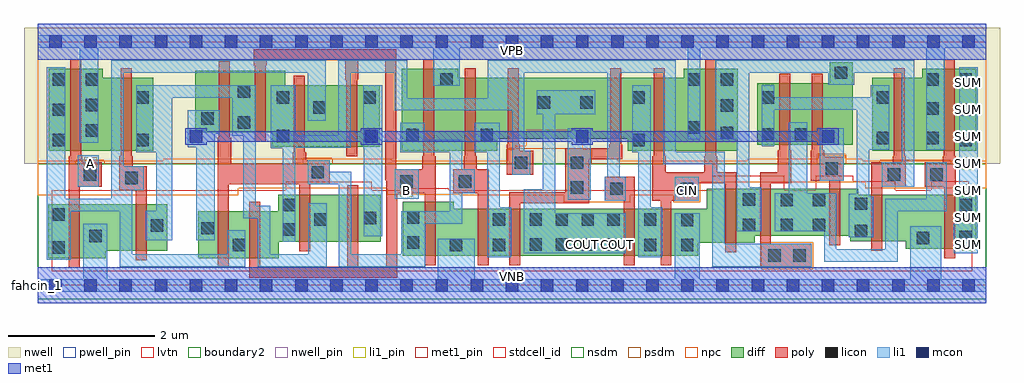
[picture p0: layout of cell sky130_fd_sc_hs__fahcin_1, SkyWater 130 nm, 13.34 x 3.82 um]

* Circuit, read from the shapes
.subckt sky130_fd_sc_hs__fahcin_1 A B CIN COUT SUM VGND VNB VPB VPWR
XM1 VGND A n1 VNB sky130_fd_pr__nfet_01v8_lvt w=0.74 l=0.15
XM2 n2 n1 VGND VNB sky130_fd_pr__nfet_01v8_lvt w=0.64 l=0.15
XM3 n1 n3 n4 VNB sky130_fd_pr__nfet_01v8_lvt w=0.64 l=0.15
XM4 n5 B n1 VNB sky130_fd_pr__nfet_01v8_lvt w=0.64 l=0.15
XM5 n2 n3 n5 VNB sky130_fd_pr__nfet_01v8_lvt w=0.64 l=0.15
XM6 n4 B n2 VNB sky130_fd_pr__nfet_01v8_lvt w=0.64 l=0.15
XM7 VGND B n3 VNB sky130_fd_pr__nfet_01v8_lvt w=0.74 l=0.15
XM8 n6 n3 VGND VNB sky130_fd_pr__nfet_01v8_lvt w=0.64 l=0.15
XM9 COUT n4 n6 VNB sky130_fd_pr__nfet_01v8_lvt w=0.64 l=0.15
XM10 n7 n5 COUT VNB sky130_fd_pr__nfet_01v8_lvt w=0.64 l=0.15
XM11 VGND CIN n7 VNB sky130_fd_pr__nfet_01v8_lvt w=0.64 l=0.15
XM12 n8 CIN VGND VNB sky130_fd_pr__nfet_01v8_lvt w=0.74 l=0.15
XM13 n9 n5 n8 VNB sky130_fd_pr__nfet_01v8_lvt w=0.64 l=0.15
XM14 n10 n4 n9 VNB sky130_fd_pr__nfet_01v8_lvt w=0.64 l=0.15
XM15 VGND n8 n10 VNB sky130_fd_pr__nfet_01v8_lvt w=0.64 l=0.15
XM16 SUM n9 VGND VNB sky130_fd_pr__nfet_01v8_lvt w=0.74 l=0.15
XM17 VPWR A n1 VPB sky130_fd_pr__pfet_01v8 w=1.12 l=0.15
XM18 n2 n1 VPWR VPB sky130_fd_pr__pfet_01v8 w=1 l=0.15
XM19 n2 n3 n4 VPB sky130_fd_pr__pfet_01v8 w=0.84 l=0.15
XM20 n5 B n2 VPB sky130_fd_pr__pfet_01v8 w=0.84 l=0.15
XM21 n1 n3 n5 VPB sky130_fd_pr__pfet_01v8 w=0.84 l=0.15
XM22 n4 B n1 VPB sky130_fd_pr__pfet_01v8 w=0.84 l=0.15
XM23 VPWR B n3 VPB sky130_fd_pr__pfet_01v8 w=1.12 l=0.15
XM24 n6 n3 VPWR VPB sky130_fd_pr__pfet_01v8 w=1 l=0.15
XM25 COUT n5 n6 VPB sky130_fd_pr__pfet_01v8 w=0.84 l=0.15
XM26 n7 n4 COUT VPB sky130_fd_pr__pfet_01v8 w=0.84 l=0.15
XM27 VPWR CIN n7 VPB sky130_fd_pr__pfet_01v8 w=1 l=0.15
XM28 n8 CIN VPWR VPB sky130_fd_pr__pfet_01v8 w=1.12 l=0.15
XM29 n9 n5 n10 VPB sky130_fd_pr__pfet_01v8 w=0.84 l=0.15
XM30 n8 n4 n9 VPB sky130_fd_pr__pfet_01v8 w=0.84 l=0.15
XM31 VPWR n8 n10 VPB sky130_fd_pr__pfet_01v8 w=1 l=0.15
XM32 SUM n9 VPWR VPB sky130_fd_pr__pfet_01v8 w=1.12 l=0.15
.ends

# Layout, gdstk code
import gdstk
lib = gdstk.Library(unit=1e-6, precision=1e-09)
def R(c, l, rs):  # rectangles x0, y0, x1, y1
    for r in rs: c.add(gdstk.rectangle(r[:2], r[2:], *l))
def A(c, l, x, y, w, h, nx, ny, dx, dy):  # array of equal rectangles
    R(c, l, [(x+i*dx, y+j*dy, x+i*dx+w, y+j*dy+h) for i in range(nx) for j in range(ny)])
def P(c, l, *ps):  # polygons
    for p in ps: c.add(gdstk.Polygon(p, *l))
nwell_pin = (64, 16)
nwell = (64, 20)
diff = (65, 20)
poly = (66, 20)
licon = (66, 44)
li1_pin = (67, 16)
li1 = (67, 20)
mcon = (67, 44)
met1_pin = (68, 16)
met1 = (68, 20)
stdcell_id = (81, 4)
nsdm = (93, 44)
psdm = (94, 20)
npc = (95, 20)
pwell_pin = (122, 16)
lvtn = (125, 44)
boundary2 = (236, 0)

sky130_fd_sc_hs__fahcin_ = lib.new_cell('sky130_fd_sc_hs__fahcin_1')
R(sky130_fd_sc_hs__fahcin_, nwell_pin, [(0,3.085,12.96,3.33)])
R(sky130_fd_sc_hs__fahcin_, nwell, [(-0.19,1.66,13.15,3.52)])
P(sky130_fd_sc_hs__fahcin_, diff, [(1.575,2.84),(0.885,2.84),(0.885,2.96),(0.145,2.96),(0.145,1.84),(1.575,1.84)],
  [(1.77,1.11),(0.14,1.11),(0.14,0.37),(0.93,0.37),(0.93,0.47),(1.77,0.47)],
  [(4.675,2.735),(3.38,2.735),(3.38,2.93),(2.15,2.93),(2.15,2.09),(3.205,2.09),(3.205,1.895),(4.675,1.895)],
  [(4.685,1.235),(3.285,1.235),(3.285,1.01),(2.195,1.01),(2.195,0.37),(3.29,0.37),(3.29,0.595),(4.685,0.595)],
  [(9.565,2.96),(8.825,2.96),(8.825,2.84),(5.745,2.84),(5.745,2.96),(4.975,2.96),(4.975,1.84),(6.28,1.84),(6.28,2),(8.065,2),(8.065,1.84),(9.565,1.84)],
  [(11.135,3.05),(10.82,3.05),(10.82,2.76),(9.835,2.76),(9.835,1.92),(11.135,1.92)],
  [(12.825,2.96),(12.085,2.96),(12.085,2.84),(11.405,2.84),(11.405,1.84),(12.825,1.84)],
  [(12.825,1.24),(11.215,1.24),(11.215,1.32),(9.145,1.32),(9.145,1.045),(5.685,1.045),(5.685,1.145),(4.985,1.145),(4.985,0.405),(9.025,0.405),(9.025,0.58),(9.795,0.58),(9.795,0.68),(11.105,0.68),(11.105,0.6),(11.865,0.6),(11.865,0.5),(12.825,0.5)])
P(sky130_fd_sc_hs__fahcin_, poly, [(0.875,1.68),(0.605,1.68),(0.605,1.765),(0.59,1.765),(0.59,3.09),(0.44,3.09),(0.44,1.765),(0.425,1.765),(0.425,0.24),(0.575,0.24),(0.575,1.35),(0.875,1.35)],
  [(1.485,1.63),(1.295,1.63),(1.295,1.765),(1.28,1.765),(1.28,2.97),(1.13,2.97),(1.13,1.765),(1.115,1.765),(1.115,1.3),(1.335,1.3),(1.335,0.34),(1.485,0.34)],
  [(3.99,1.71),(3.665,1.71),(3.665,1.82),(3.65,1.82),(3.65,2.865),(3.5,2.865),(3.5,1.82),(3.485,1.82),(3.485,1.665),(2.64,1.665),(2.64,2.015),(2.625,2.015),(2.625,3.06),(2.475,3.06),(2.475,2.015),(2.46,2.015),(2.46,0.24),(2.61,0.24),(2.61,1.38),(3.57,1.38),(3.57,0.465),(3.72,0.465),(3.72,1.38),(3.99,1.38)],
  [(5.435,1.765),(5.42,1.765),(5.42,3.09),(5.27,3.09),(5.27,1.765),(5.255,1.765),(5.255,1.585),(4.9,1.585),(4.9,3.225),(2.95,3.225),(2.95,3.005),(2.965,3.005),(2.965,1.96),(3.115,1.96),(3.115,3.005),(3.13,3.005),(3.13,3.075),(4.2,3.075),(4.2,2.81),(4.215,2.81),(4.215,1.765),(4.365,1.765),(4.365,2.81),(4.38,2.81),(4.38,3.075),(4.75,3.075),(4.75,1.435),(4.76,1.435),(4.76,0.255),(4.38,0.255),(4.38,1.365),(4.23,1.365),(4.23,0.255),(3.04,0.255),(3.04,1.14),(2.89,1.14),(2.89,0.105),(4.91,0.105),(4.91,1.255),(5.285,1.255),(5.285,0.275),(5.435,0.275)],
  [(6.165,1.585),(6,1.585),(6,1.765),(5.985,1.765),(5.985,2.97),(5.835,2.97),(5.835,1.765),(5.82,1.765),(5.82,1.585),(5.675,1.585),(5.675,1.255),(6.015,1.255),(6.015,0.275),(6.165,0.275)],
  [(6.77,1.84),(6.585,1.84),(6.585,1.925),(6.57,1.925),(6.57,2.97),(6.42,2.97),(6.42,1.925),(6.405,1.925),(6.405,1.51),(6.77,1.51)],
  [(7.99,1.925),(7.975,1.925),(7.975,2.97),(7.825,2.97),(7.825,1.925),(7.81,1.925),(7.81,1.875),(7.205,1.875),(7.205,1.27),(6.445,1.27),(6.445,0.275),(6.595,0.275),(6.595,1.12),(7.535,1.12),(7.535,1.725),(7.99,1.725)],
  [(8.16,1.485),(7.745,1.485),(7.745,1.155),(8.01,1.155),(8.01,0.275),(8.16,0.275)],
  [(9.545,1.545),(9.285,1.545),(9.285,1.765),(9.27,1.765),(9.27,3.09),(9.12,3.09),(9.12,1.765),(9.105,1.765),(9.105,1.545),(8.58,1.545),(8.58,1.765),(8.565,1.765),(8.565,2.97),(8.415,2.97),(8.415,1.765),(8.4,1.765),(8.4,1.155),(8.51,1.155),(8.51,0.275),(8.66,0.275),(8.66,1.155),(9.035,1.155),(9.035,1.395),(9.395,1.395),(9.395,0.45),(9.545,0.45)],
  [(10.575,0.57),(10.02,0.57),(10.02,1.395),(10.295,1.395),(10.295,1.845),(10.28,1.845),(10.28,2.89),(10.13,2.89),(10.13,1.845),(10.115,1.845),(10.115,1.545),(9.87,1.545),(9.87,0.24),(10.575,0.24)],
  [(11.015,1.76),(10.745,1.76),(10.745,1.845),(10.73,1.845),(10.73,2.89),(10.58,2.89),(10.58,1.845),(10.565,1.845),(10.565,1.43),(10.815,1.43),(10.815,0.55),(10.965,0.55),(10.965,1.43),(11.015,1.43)],
  [(11.865,1.765),(11.85,1.765),(11.85,2.97),(11.7,2.97),(11.7,1.765),(11.685,1.765),(11.685,1.68),(11.39,1.68),(11.39,0.47),(11.54,0.47),(11.54,1.35),(11.865,1.35)],
  [(12.545,1.765),(12.53,1.765),(12.53,3.09),(12.38,3.09),(12.38,1.765),(12.365,1.765),(12.365,1.68),(12.12,1.68),(12.12,1.35),(12.39,1.35),(12.39,0.37),(12.54,0.37),(12.54,1.35),(12.545,1.35)])
A(sky130_fd_sc_hs__fahcin_, licon, 6.72, 0.475, 0.17, 0.17, 4, 2, 0.355, 0.34)
A(sky130_fd_sc_hs__fahcin_, licon, 0.205, 1.9, 0.17, 0.17, 1, 3, 0, 0.415)
A(sky130_fd_sc_hs__fahcin_, licon, 12.595, 1.9, 0.17, 0.17, 1, 3, 0, 0.415)
A(sky130_fd_sc_hs__fahcin_, licon, 12.145, 1.93, 0.17, 0.17, 1, 3, 0, 0.4)
A(sky130_fd_sc_hs__fahcin_, licon, 0.655, 2.03, 0.17, 0.17, 1, 3, 0, 0.35)
R(sky130_fd_sc_hs__fahcin_, licon, [(9.985,0.32,10.155,0.49), (10.325,0.32,10.495,0.49), (0.2,0.43,0.37,0.6), (2.665,0.465,2.835,0.635), (5.63,0.465,5.8,0.635), (6.22,0.465,6.39,0.635), (8.285,0.465,8.455,0.635), (8.79,0.465,8.96,0.635), (5.045,0.5,5.215,0.67), (12.01,0.56,12.18,0.73), (12.595,0.575,12.765,0.745), (0.7,0.59,0.87,0.76), (11.165,0.66,11.335,0.83), (3.345,0.675,3.515,0.845), (2.235,0.695,2.405,0.865), (1.54,0.73,1.71,0.9), (9.635,0.74,9.805,0.91), (10.15,0.74,10.32,0.91), (10.59,0.74,10.76,0.91), (8.79,0.805,8.96,0.975), (3.775,0.815,3.945,0.985), (6.22,0.815,6.39,0.985), (8.285,0.815,8.455,0.985), (4.455,0.835,4.625,1.005), (5.045,0.84,5.215,1.01), (0.2,0.88,0.37,1.05), (12.595,1.01,12.765,1.18), (3.345,1.015,3.515,1.185), (11.165,1.03,11.335,1.2), (10.15,1.08,10.32,1.25), (10.59,1.08,10.76,1.25), (9.635,1.09,9.805,1.26), (7.825,1.235,7.995,1.405), (8.785,1.235,8.955,1.405), (7.285,1.25,7.455,1.42), (4.955,1.335,5.125,1.505), (5.755,1.335,5.925,1.505), (1.195,1.38,1.365,1.55), (0.625,1.43,0.795,1.6), (11.615,1.43,11.785,1.6), (12.2,1.43,12.37,1.6), (3.74,1.46,3.91,1.63), (10.765,1.51,10.935,1.68), (6.52,1.59,6.69,1.76), (7.285,1.59,7.455,1.76), (1.345,1.9,1.515,2.07), (8.125,1.9,8.295,2.07), (11.465,1.93,11.635,2.1), (3.265,1.955,3.435,2.125), (4.445,1.955,4.615,2.125), (5.035,1.97,5.205,2.14), (6.05,1.97,6.22,2.14), (9.895,1.98,10.065,2.15), (10.345,1.98,10.515,2.15), (9.335,1.995,9.505,2.165), (8.885,2.075,9.055,2.245), (2.73,2.14,2.9,2.31), (2.235,2.195,2.405,2.365), (3.765,2.345,3.935,2.515), (9.335,2.37,9.505,2.54), (6.835,2.415,7.005,2.585), (7.415,2.415,7.585,2.585), (1.345,2.485,1.515,2.655), (3.265,2.485,3.435,2.655), (4.445,2.485,4.615,2.655), (8.125,2.485,8.295,2.655), (9.895,2.485,10.065,2.655), (11.465,2.485,11.635,2.655), (2.73,2.565,2.9,2.735), (5.5,2.73,5.67,2.9), (8.885,2.73,9.055,2.9), (9.335,2.73,9.505,2.9), (10.89,2.82,11.06,2.99)])
A(sky130_fd_sc_hs__fahcin_, li1_pin, 4.955, 1.21, 0.17, 0.17, 3, 1, 3.84, 0)
A(sky130_fd_sc_hs__fahcin_, li1_pin, 12.635, 1.58, 0.17, 0.17, 1, 4, 0, 0.37)
R(sky130_fd_sc_hs__fahcin_, li1_pin, [(7.355,0.47,7.525,0.64), (7.835,0.47,8.005,0.64), (12.635,0.47,12.805,0.64), (12.635,0.84,12.805,1.01), (0.635,1.58,0.805,1.75)])
R(sky130_fd_sc_hs__fahcin_, li1, [(8.705,1.155,9.035,1.485), (7.24,1.17,7.555,2.15), (4.875,1.18,5.205,1.585), (0.545,1.35,0.835,1.78), (10.685,1.43,11.015,2.15)])
P(sky130_fd_sc_hs__fahcin_, li1, [(0,-0.085),(0,0.085),(0.62,0.085),(0.62,0.84),(0.95,0.84),(0.95,0.085),(5.465,0.085),(5.465,0.635),(5.97,0.635),(5.97,0.085),(8.705,0.085),(8.705,0.985),(9.045,0.985),(9.045,0.085),(11.925,0.085),(11.925,0.81),(12.345,0.81),(12.345,0.085),(12.96,0.085),(12.96,-0.085)],
  [(0,3.245),(0,3.415),(12.96,3.415),(12.96,3.245),(12.395,3.245),(12.395,1.85),(12.145,1.85),(12.145,3.245),(9.055,3.245),(9.055,1.995),(8.885,1.995),(8.885,3.245),(5.765,3.245),(5.765,2.73),(5.405,2.73),(5.405,3.245),(0.825,3.245),(0.825,1.95),(0.575,1.95),(0.575,3.245)],
  [(6.64,0.44),(6.64,1.31),(6.9,1.31),(6.9,2.335),(6.82,2.335),(6.82,2.665),(7.615,2.665),(7.615,2.335),(7.07,2.335),(7.07,0.985),(8.035,0.985),(8.035,0.44)],
  [(12.515,0.44),(12.515,0.84),(12.595,0.84),(12.595,2.98),(12.845,2.98),(12.845,0.44)],
  [(11.195,1.25),(11.195,2.4),(10.065,2.4),(10.065,1.9),(9.895,1.9),(9.895,2.735),(10.065,2.735),(10.065,2.57),(11.385,2.57),(11.385,2.735),(11.635,2.735),(11.635,1.85),(11.365,1.85),(11.365,1.22),(11.415,1.22),(11.415,0.66),(11.085,0.66),(11.085,1.25)],
  [(1.12,1.01),(0.45,1.01),(0.45,0.35),(0.12,0.35),(0.12,2.98),(0.375,2.98),(0.375,1.18),(1.005,1.18),(1.005,3.075),(3.935,3.075),(3.935,2.25),(3.685,2.25),(3.685,2.905),(1.175,2.905),(1.175,1.63),(1.445,1.63),(1.445,1.3),(1.29,1.3),(1.29,0.425),(2.585,0.425),(2.585,0.75),(2.835,0.75),(2.835,0.255),(1.12,0.255)],
  [(4.875,2.39),(4.875,2.905),(4.275,2.905),(4.275,1.88),(3.515,1.88),(3.515,0.595),(3.345,0.595),(3.345,1.875),(3.185,1.875),(3.185,2.735),(3.515,2.735),(3.515,2.05),(4.105,2.05),(4.105,3.075),(5.045,3.075),(5.045,2.56),(6.15,2.56),(6.15,3.075),(8.715,3.075),(8.715,1.825),(9.385,1.825),(9.385,0.57),(10.575,0.57),(10.575,0.255),(9.215,0.255),(9.215,1.655),(8.545,1.655),(8.545,2.905),(7.955,2.905),(7.955,1.485),(8.035,1.485),(8.035,1.155),(7.745,1.155),(7.745,1.485),(7.785,1.485),(7.785,2.905),(6.65,2.905),(6.65,1.84),(6.73,1.84),(6.73,1.51),(6.48,1.51),(6.48,2.39)],
  [(4.115,0.255),(4.115,1.38),(3.685,1.38),(3.685,1.71),(3.99,1.71),(3.99,1.55),(4.285,1.55),(4.285,0.425),(4.965,0.425),(4.965,1.01),(5.63,1.01),(5.63,1.82),(4.955,1.82),(4.955,2.22),(5.285,2.22),(5.285,1.99),(5.8,1.99),(5.8,1.585),(5.97,1.585),(5.97,1.255),(5.8,1.255),(5.8,0.84),(5.295,0.84),(5.295,0.255)],
  [(11.975,3.075),(11.975,1.35),(11.535,1.35),(11.535,1.68),(11.805,1.68),(11.805,2.905),(11.155,2.905),(11.155,2.74),(10.8,2.74),(10.8,2.905),(9.725,2.905),(9.725,1.34),(9.885,1.34),(9.885,0.74),(9.555,0.74),(9.555,1.995),(9.255,1.995),(9.255,3.075)],
  [(8.375,1.065),(8.535,1.065),(8.535,0.385),(8.205,0.385),(8.205,1.82),(8.125,1.82),(8.125,2.735),(8.375,2.735)],
  [(6.14,1.82),(5.97,1.82),(5.97,2.22),(6.31,2.22),(6.31,1.065),(6.47,1.065),(6.47,0.385),(6.14,0.385)],
  [(4.445,1.875),(4.445,2.735),(4.705,2.735),(4.705,0.67),(4.455,0.67),(4.455,1.875)],
  [(12.425,1.68),(12.145,1.68),(12.145,1.18),(11.585,1.18),(11.585,0.49),(10.915,0.49),(10.915,1.26),(10.515,1.26),(10.515,2.23),(10.265,2.23),(10.265,1.26),(10.07,1.26),(10.07,0.74),(10.745,0.74),(10.745,0.32),(11.755,0.32),(11.755,1.01),(12.425,1.01)],
  [(2.485,2.395),(2.045,2.395),(2.045,1.89),(2.165,1.89),(2.165,0.615),(2.415,0.615),(2.415,2.07),(2.485,2.07)],
  [(3.945,1.125),(3.695,1.125),(3.695,0.425),(3.175,0.425),(3.175,1.09),(2.98,1.09),(2.98,2.735),(1.345,2.735),(1.345,1.82),(1.615,1.82),(1.615,1.02),(1.475,1.02),(1.475,0.615),(1.835,0.615),(1.835,2.565),(2.655,2.565),(2.655,2.045),(2.81,2.045),(2.81,0.92),(3.005,0.92),(3.005,0.255),(3.945,0.255)])
A(sky130_fd_sc_hs__fahcin_, mcon, 0.155, -0.085, 0.17, 0.17, 27, 2, 0.48, 3.33)
R(sky130_fd_sc_hs__fahcin_, mcon, [(2.075,1.95,2.245,2.12), (4.475,1.95,4.645,2.12), (7.355,1.95,7.525,2.12), (10.715,1.95,10.885,2.12)])
R(sky130_fd_sc_hs__fahcin_, met1_pin, [(0,0,12.96,0.245), (0,3.085,12.96,3.33)])
R(sky130_fd_sc_hs__fahcin_, met1, [(0,-0.245,12.96,0.245), (0,3.085,12.96,3.575)])
P(sky130_fd_sc_hs__fahcin_, met1, [(7.585,2.105),(10.655,2.105),(10.655,2.15),(10.945,2.15),(10.945,1.92),(10.655,1.92),(10.655,1.965),(7.585,1.965),(7.585,1.92),(7.295,1.92),(7.295,1.965),(4.705,1.965),(4.705,1.92),(4.415,1.92),(4.415,1.965),(2.305,1.965),(2.305,1.92),(2.015,1.92),(2.015,2.15),(2.305,2.15),(2.305,2.105),(4.415,2.105),(4.415,2.15),(4.705,2.15),(4.705,2.105),(7.295,2.105),(7.295,2.15),(7.585,2.15)])
R(sky130_fd_sc_hs__fahcin_, stdcell_id, [(0,0,12.96,3.33)])
R(sky130_fd_sc_hs__fahcin_, nsdm, [(0,-0.19,12.96,1.66)])
P(sky130_fd_sc_hs__fahcin_, psdm, [(12.96,3.52),(0,3.52),(0,1.66),(0.515,1.66),(0.515,1.71),(0.905,1.71),(0.905,1.66),(3.63,1.66),(3.63,1.74),(4.02,1.74),(4.02,1.66),(6.41,1.66),(6.41,1.87),(7.565,1.87),(7.565,1.66),(10.655,1.66),(10.655,1.79),(11.045,1.79),(11.045,1.66),(11.505,1.66),(11.505,1.71),(12.48,1.71),(12.48,1.66),(12.96,1.66)])
R(sky130_fd_sc_hs__fahcin_, npc, [(9.885,0.22,10.595,0.59)])
P(sky130_fd_sc_hs__fahcin_, npc, [(12.96,1.7),(11.265,1.7),(11.265,1.73),(11.035,1.73),(11.035,1.78),(10.665,1.78),(10.665,1.73),(9.705,1.73),(9.705,1.7),(7.925,1.7),(7.925,1.73),(7.555,1.73),(7.555,1.86),(7.45,1.86),(7.45,2.125),(6.675,2.125),(6.675,1.91),(6.525,1.91),(6.525,1.86),(6.42,1.86),(6.42,1.7),(4.835,1.7),(4.835,1.73),(1.715,1.73),(1.715,1.7),(0,1.7),(0,1.23),(2.74,1.23),(2.74,1.325),(4.775,1.325),(4.775,1.235),(5.775,1.235),(5.775,1.23),(7.185,1.23),(7.185,1.135),(8.095,1.135),(8.095,1.23),(8.685,1.23),(8.685,1.135),(9.055,1.135),(9.055,1.41),(11.305,1.41),(11.305,1.33),(12.96,1.33)])
R(sky130_fd_sc_hs__fahcin_, pwell_pin, [(0,0,12.96,0.245)])
P(sky130_fd_sc_hs__fahcin_, lvtn, [(12.77,1.3),(12.72,1.3),(12.72,1.42),(12.21,1.42),(12.21,1.3),(11.72,1.3),(11.72,1.42),(11.145,1.42),(11.145,1.5),(10.635,1.5),(10.635,1.3),(10.2,1.3),(10.2,1.5),(9.215,1.5),(9.215,1.3),(5.615,1.3),(5.615,1.325),(5.105,1.325),(5.105,1.3),(4.56,1.3),(4.56,1.415),(3.39,1.415),(3.39,1.3),(0.19,1.3),(0.19,0.19),(12.77,0.19)])
R(sky130_fd_sc_hs__fahcin_, boundary2, [(0,0,12.96,3.33)])
sky130_fd_sc_hs__fahcin_.add(gdstk.Label('fahcin_1', (0,0), layer=83, texttype=44))
sky130_fd_sc_hs__fahcin_.add(gdstk.Label('VNB', (6.48,0.123), layer=64, texttype=59))
sky130_fd_sc_hs__fahcin_.add(gdstk.Label('VPB', (6.48,3.208), layer=64, texttype=5))
sky130_fd_sc_hs__fahcin_.add(gdstk.Label('VPWR', (6.48,3.208), layer=68, texttype=5))
sky130_fd_sc_hs__fahcin_.add(gdstk.Label('VGND', (6.48,0.123), layer=68, texttype=5))
sky130_fd_sc_hs__fahcin_.add(gdstk.Label('COUT', (7.44,0.555), layer=67, texttype=5))
sky130_fd_sc_hs__fahcin_.add(gdstk.Label('COUT', (7.92,0.555), layer=67, texttype=5))
sky130_fd_sc_hs__fahcin_.add(gdstk.Label('B', (5.04,1.295), layer=67, texttype=5))
sky130_fd_sc_hs__fahcin_.add(gdstk.Label('A', (0.72,1.665), layer=67, texttype=5))
sky130_fd_sc_hs__fahcin_.add(gdstk.Label('CIN', (8.88,1.295), layer=67, texttype=5))
sky130_fd_sc_hs__fahcin_.add(gdstk.Label('SUM', (12.72,0.555), layer=67, texttype=5))
sky130_fd_sc_hs__fahcin_.add(gdstk.Label('SUM', (12.72,0.925), layer=67, texttype=5))
sky130_fd_sc_hs__fahcin_.add(gdstk.Label('SUM', (12.72,1.295), layer=67, texttype=5))
sky130_fd_sc_hs__fahcin_.add(gdstk.Label('SUM', (12.72,1.665), layer=67, texttype=5))
sky130_fd_sc_hs__fahcin_.add(gdstk.Label('SUM', (12.72,2.035), layer=67, texttype=5))
sky130_fd_sc_hs__fahcin_.add(gdstk.Label('SUM', (12.72,2.405), layer=67, texttype=5))
sky130_fd_sc_hs__fahcin_.add(gdstk.Label('SUM', (12.72,2.775), layer=67, texttype=5))

lib.write_gds('sky130_fd_sc_hs__fahcin_1.gds')
